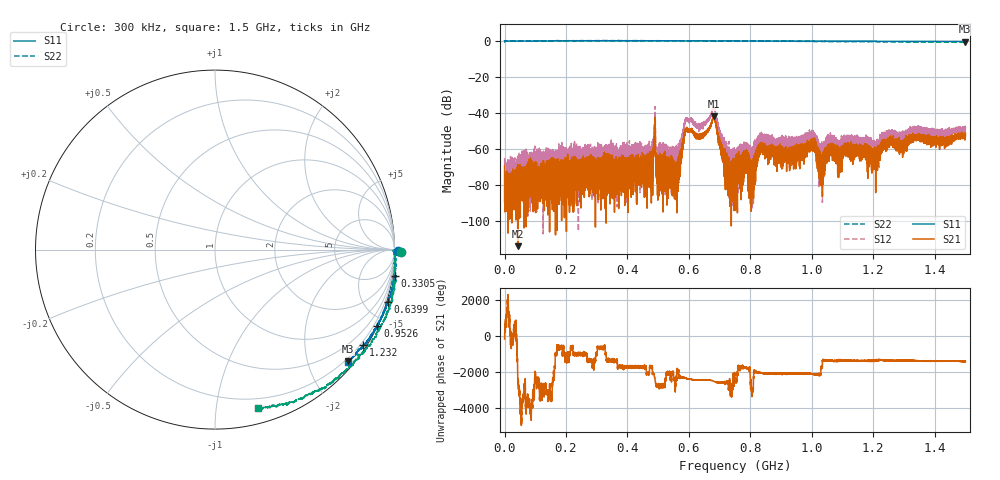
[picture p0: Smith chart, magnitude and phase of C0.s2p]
!Agilent Technologies,N5230C,SG49000117,A.08.50.07
!Agilent N5230C: A.08.50.07
!Date: Thursday, December 07, 2023 05:26:38
!Correction: S11(Full 2 Port(1,2))
!S21(Full 2 Port(1,2))
!S12(Full 2 Port(1,2))
!S22(Full 2 Port(1,2))
!S2P File: Measurements: S11, S21, S12, S22:
# Hz S  RI  R 50
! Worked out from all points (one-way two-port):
!   20001 points, 300 kHz to 1.5 GHz, reference 50 ohm
!   highest |S21| = -41.71 dB at 680.3 MHz (marker M1); lowest = -113.8 dB at 42.97 MHz (marker M2)
!   lowest |S11| = -0.3 dB at 1.497 GHz (marker M3), VSWR 57.22, Z = 7.43 - j137 ohm
!   |S11| at or under -10 dB: nowhere
!   |S22| runs from -0.8 to 0.3 dB; largest |S21 - S12| = 0.0081
!   S11 on the Smith chart (normalised r, x): 300 kHz: -86, -41; 330.5 MHz: -1, -14; 639.9 MHz: -0.18, -6.74; 952.6 MHz: 0.01, -4.49; 1.232 GHz: 0.12, -3.39; 1.5 GHz: 0.13, -2.74
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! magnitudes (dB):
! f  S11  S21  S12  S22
! 300 kHz  0.2  -69.1  -64.9  0.3
! 42.97 MHz  0.0  -113.8  -70.6  0.0
! 250.3 MHz  0.1  -73.1  -62.3  0.2
! 330.5 MHz  0.1  -68.5  -68.6  0.2
! 475.3 MHz  0.1  -70.3  -58.9  0.2
! 489.7 MHz  0.0  -42.5  -36.7  0.0
! 500.2 MHz  0.1  -67.4  -60.5  0.2
! 559.6 MHz  0.1  -67.6  -65.0  0.1
! 591.6 MHz  0.0  -49.2  -43.5  0.1
! 639.9 MHz  0.1  -52.3  -47.9  0.0
! 680.3 MHz  0.0  -41.7  -36.5  -0.1
! 728.2 MHz  0.0  -73.4  -67.8  -0.1
! 750.1 MHz  0.0  -79.1  -63.4  0.0
! 803.9 MHz  0.0  -77.2  -67.8  0.0
! 833.4 MHz  0.0  -59.8  -54.0  -0.1
! 952.6 MHz  0.0  -59.0  -55.0  -0.2
! 1 GHz  0.0  -58.0  -52.6  -0.2
! 1.031 GHz  0.0  -63.3  -67.8  -0.2
! 1.232 GHz  -0.2  -60.7  -54.2  -0.5
! 1.25 GHz  -0.2  -54.5  -50.7  -0.4
! 1.497 GHz  -0.3  -53.7  -48.6  -0.7
! 1.5 GHz  -0.3  -51.8  -48.5  -0.8
